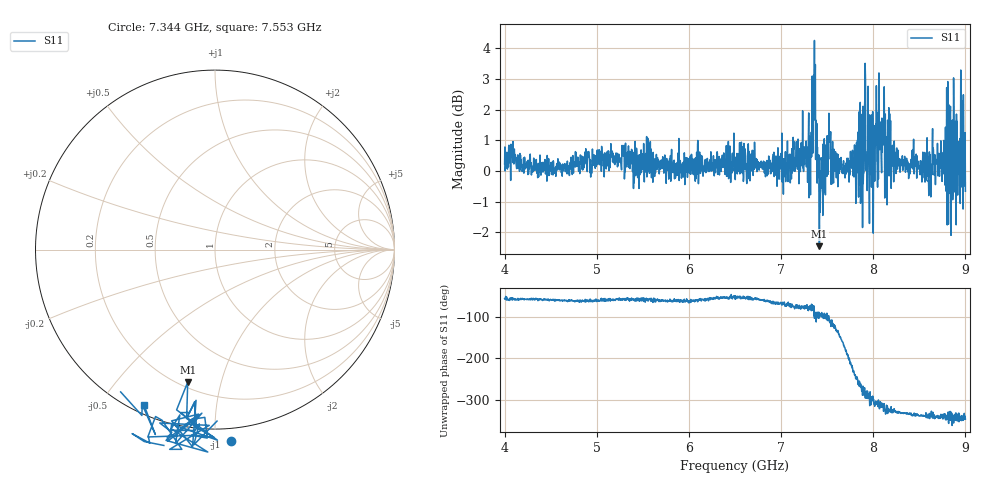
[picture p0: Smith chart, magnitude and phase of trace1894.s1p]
! Created with skrf 1.8.0 (http://scikit-rf.org).
# Hz S RI R 50.0
!freq ReS11 ImS11
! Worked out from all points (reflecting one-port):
!   1601 points, 4 GHz to 9 GHz, reference 50 ohm
!   lowest |S11| = -2.5 dB at 7.416 GHz (marker M1), VSWR 7.13, Z = 11.5 - j39.4 ohm
!   phase of S11 starts at -57 deg and turns -288 deg over the sweep
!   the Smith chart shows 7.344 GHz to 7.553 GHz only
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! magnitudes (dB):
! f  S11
! 4 GHz  0.2
! 4.625 GHz  -0.2
! 5.25 GHz  0.3
! 5.875 GHz  -0.1
! 6.5 GHz  0.2
! 7.125 GHz  0.4
! 7.3 GHz  1.9
! 7.328 GHz  1.3
! 7.347 GHz  3.1
! 7.362 GHz  4.3
! 7.4 GHz  0.1
! 7.416 GHz  -2.5
! 7.438 GHz  0.4
! 7.512 GHz  0.9
! 7.591 GHz  0.6
! 7.75 GHz  0.2
! 7.875 GHz  -0.1
! 7.894 GHz  -0.1
! 7.928 GHz  0.5
! 7.944 GHz  2.8
! 7.981 GHz  -0.5
! 8.097 GHz  0.6
! 8.216 GHz  0.7
! 8.375 GHz  0.2
! 8.612 GHz  -0.1
! 8.953 GHz  -0.5
! 8.972 GHz  0.4
! 9 GHz  -0.7
